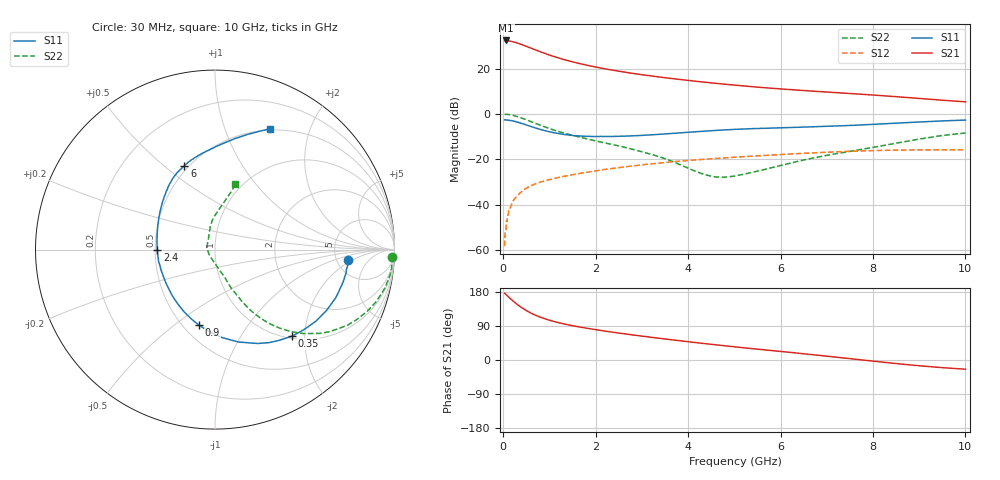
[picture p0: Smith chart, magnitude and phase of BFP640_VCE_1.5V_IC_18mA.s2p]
! Infineon Technologies  Discrete & RF Semiconductors
! BFP640
! VCE =  1.5 V,  IC =  18 mA
! Common Emitter S-Parameters:  Apr 2013
# GHz  S  MA  R  50
!  f  S11  S21  S12  S22
! GHz  MAG  ANG  MAG  ANG  MAG  ANG  MAG  ANG
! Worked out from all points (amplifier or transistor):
!   99 points, 30 MHz to 10 GHz, reference 50 ohm
!   highest |S21| = 32.6 dB at 60 MHz (marker M1)
!   |S21| within 3 dB of that: start of sweep to 550.8 MHz
!   unconditionally stable (mu >= 1): 2.892 GHz to end of sweep
!   at 350 MHz: K = 0.24, MSG = 33.1 dB, |S12| = -35.1 dB
!   at 3.5 GHz: K = 1.03, MAG = 17.7 dB, |S12| = -21.4 dB
!   at 10 GHz: K = 1.08, MAG = 8.9 dB, |S12| = -15.8 dB
!   S11 on the Smith chart (normalised r, x): 30 MHz: 6.43, -1.61; 350 MHz: 1.05, -1.73; 900 MHz: 0.60, -0.62; 2.4 GHz: 0.51, -0.00; 6 GHz: 0.47, +0.59; 10 GHz: 0.49, +1.44
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0.03  0.7449 -4.3  42.31 176.1  0.0012 91.7  0.9875 -2.3
0.06  0.7403 -8.7  42.49 172.6  0.0028 83.1  0.9874 -5.2
0.12  0.7296 -17.5  41.64 165.8  0.0073 84.7  0.9759 -10.9
0.2  0.7078 -28.7  39.95 157.1  0.0114 77.2  0.943 -18.0
0.3  0.6666 -42.0  37.42 147.0  0.0153 72.7  0.883 -26.0
0.35  0.646 -48.2  35.85 142.5  0.0175 70.8  0.851 -29.6
0.4  0.6205 -54.4  34.52 138.1  0.0193 68.4  0.8146 -32.8
0.45  0.6001 -59.7  32.91 134.3  0.0214 65.9  0.7833 -35.8
0.6  0.531 -75.8  28.75 123.7  0.0261 61.4  0.6813 -43.4
0.7  0.4929 -85.1  26.2 118.1  0.0288 59.1  0.6227 -47.2
0.9  0.4311 -101.8  21.99 108.8  0.0334 56.4  0.5214 -53.1
1  0.4066 -109.5  20.24 104.9  0.0355 55.4  0.4799 -55.3
1.2  0.3706 -122.8  17.39 98.4  0.0399 53.7  0.413 -58.7
1.4  0.3469 -134.7  15.2 93.0  0.0436 52.6  0.3611 -61.0
1.7  0.3258 -150.5  12.77 86.1  0.0498 51.1  0.3011 -63.3
2.4  0.3208 -179.6  9.24 72.9  0.0634 47.1  0.2081 -68.4
3.4  0.3586 150.9  6.568 57.0  0.0831 40.3  0.1118 -79.0
5.1  0.4634 120.0  4.285 33.6  0.1126 26.4  0.0447 164.3
6  0.4967 110.1  3.602 22.6  0.1273 19.4  0.073 119.7
6.7  0.5243 102.4  3.22 13.9  0.1388 13.0  0.1066 106.6
8.5  0.6298 79.6  2.428 -9.4  0.1597 -4.8  0.2268 84.1
10  0.7379 65.7  1.867 -24.3  0.1623 -16.4  0.3822 72.7
